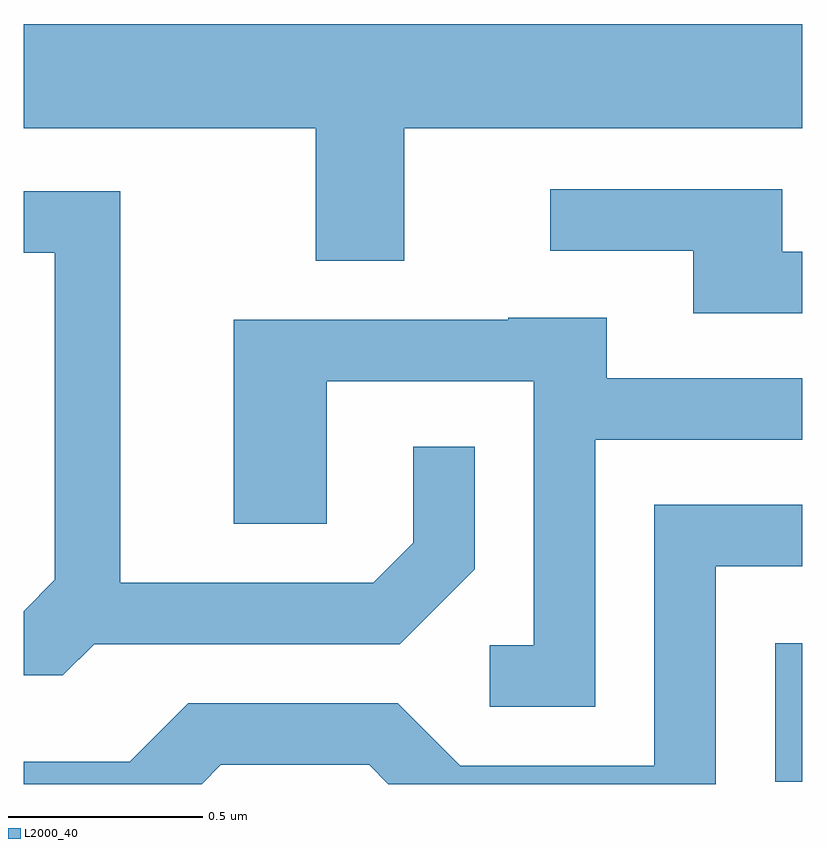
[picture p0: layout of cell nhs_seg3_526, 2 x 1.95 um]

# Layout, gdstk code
import gdstk
lib = gdstk.Library(unit=1e-6, precision=1e-09)
def R(c, l, rs):  # rectangles x0, y0, x1, y1
    for r in rs: c.add(gdstk.rectangle(r[:2], r[2:], *l))
def P(c, l, *ps):  # polygons
    for p in ps: c.add(gdstk.Polygon(p, *l))
L2000_40 = (2000, 40)

nhs_seg3_526 = lib.new_cell('nhs_seg3_526')
R(nhs_seg3_526, L2000_40, [(190.541,1230.898,190.611,1231.254)])
P(nhs_seg3_526, L2000_40, [(189.589,1232.576),(190.611,1232.576),(190.611,1232.844),(188.611,1232.844),(188.611,1232.576),(189.361,1232.576),(189.361,1232.236),(189.589,1232.236)],
  [(190.611,1232.259),(190.559,1232.259),(190.559,1232.419),(189.963,1232.419),(189.963,1232.261),(190.331,1232.261),(190.331,1232.101),(190.611,1232.101)],
  [(188.792,1231.251),(189.577,1231.251),(189.769,1231.444),(189.769,1231.758),(189.611,1231.758),(189.611,1231.512),(189.509,1231.409),(188.859,1231.409),(188.859,1232.414),(188.611,1232.414),(188.611,1232.256),(188.691,1232.256),(188.691,1231.417),(188.611,1231.336),(188.611,1231.171),(188.712,1231.171)],
  [(190.079,1231.776),(190.611,1231.776),(190.611,1231.934),(190.109,1231.934),(190.109,1232.089),(189.855,1232.089),(189.855,1232.084),(189.151,1232.084),(189.151,1231.561),(189.389,1231.561),(189.389,1231.926),(189.921,1231.926),(189.921,1231.249),(189.808,1231.249),(189.808,1231.091),(190.079,1231.091)],
  [(189.117,1230.941),(189.499,1230.941),(189.548,1230.892),(190.389,1230.892),(190.389,1231.451),(190.611,1231.451),(190.611,1231.609),(190.231,1231.609),(190.231,1230.939),(189.732,1230.939),(189.572,1231.099),(189.034,1231.099),(188.884,1230.949),(188.611,1230.949),(188.611,1230.892),(189.068,1230.892)])

lib.write_gds('nhs_seg3_526.gds')
